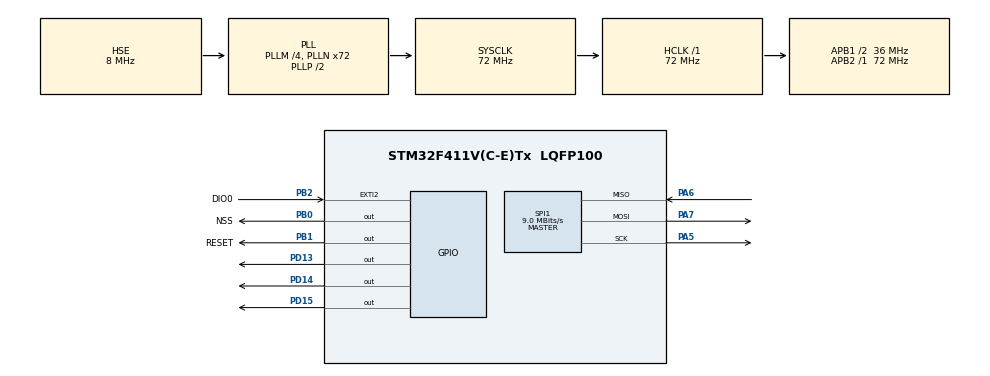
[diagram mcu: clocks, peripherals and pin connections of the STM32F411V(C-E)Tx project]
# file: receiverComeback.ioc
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Mcu.Family=STM32F4
Mcu.Name=STM32F411V(C-E)Tx
Mcu.Package=LQFP100
NVIC.EXTI2_IRQn=true\:0\:0\:false\:false\:true\:true\:true\:true
NVIC.PriorityGroup=NVIC_PRIORITYGROUP_0
NVIC.SPI1_IRQn=true\:0\:0\:false\:false\:true\:true\:true\:true
PA5.Mode=Full_Duplex_Master
PA5.Signal=SPI1_SCK
PA6.Mode=Full_Duplex_Master
PA6.Signal=SPI1_MISO
PA7.Mode=Full_Duplex_Master
PA7.Signal=SPI1_MOSI
PB0.GPIO_Label=NSS
PB0.Signal=GPIO_Output
PB1.GPIO_Label=RESET
PB1.Signal=GPIO_Output
PB2.GPIO_Label=DIO0
PB2.Signal=GPXTI2
PD13.Signal=GPIO_Output
PD14.Signal=GPIO_Output
PD15.Signal=GPIO_Output
PH0\ -\ OSC_IN.Mode=HSE-External-Oscillator
PH0\ -\ OSC_IN.Signal=RCC_OSC_IN
PH1\ -\ OSC_OUT.Mode=HSE-External-Oscillator
PH1\ -\ OSC_OUT.Signal=RCC_OSC_OUT
ProjectManager.HeapSize=0x200
ProjectManager.StackSize=0x400
ProjectManager.TargetToolchain=STM32CubeIDE
RCC.48MHZClocksFreq_Value=18000000
RCC.AHBFreq_Value=72000000
RCC.APB1CLKDivider=RCC_HCLK_DIV2
RCC.APB1Freq_Value=36000000
RCC.APB1TimFreq_Value=72000000
RCC.APB2Freq_Value=72000000
RCC.APB2TimFreq_Value=72000000
RCC.CortexFreq_Value=72000000
RCC.HCLKFreq_Value=72000000
RCC.HSE_VALUE=8000000
RCC.HSI_VALUE=16000000
RCC.LSE_VALUE=32768
RCC.PLLI2SM=5
RCC.PLLI2SN=200
RCC.PLLM=4
RCC.PLLN=72
RCC.PLLQ=8
RCC.PLLSourceVirtual=RCC_PLLSOURCE_HSE
RCC.SYSCLKFreq_VALUE=72000000
RCC.SYSCLKSource=RCC_SYSCLKSOURCE_PLLCLK
RCC.VCOOutputFreq_Value=144000000
SPI1.BaudRatePrescaler=SPI_BAUDRATEPRESCALER_8
SPI1.CalculateBaudRate=9.0 MBits/s
SPI1.Direction=SPI_DIRECTION_2LINES
SPI1.Mode=SPI_MODE_MASTER
SPI1.VirtualType=VM_MASTER
board=STM32F411E-DISCO

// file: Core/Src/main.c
/* USER CODE BEGIN Header */
/**
  ******************************************************************************
  * @file           : main.c
  * @brief          : Main program body
  ******************************************************************************
  * @attention
  *
  * Copyright (c) 2023 STMicroelectronics.
  * All rights reserved.
  *
  * This software is licensed under terms that can be found in the LICENSE file
  * in the root directory of this software component.
  * If no LICENSE file comes with this software, it is provided AS-IS.
  *
  ******************************************************************************
  */
/* USER CODE END Header */
#include "main.h"
#include "spi.h"
#include "gpio.h"

/* USER CODE BEGIN Includes */
#include "LoRa.h"
/* USER CODE END Includes */

/* USER CODE BEGIN PV */
LoRa myLoRa;
int status = 0;
uint8_t data[2];
int temperature = 0;
int pressure = 0;
/* USER CODE END PV */

void SystemClock_Config(void);

int main(void)
{

  /* MCU Configuration--------------------------------------------------------*/

  /* Reset of all peripherals, Initializes the Flash interface and the Systick. */
  HAL_Init();

  /* Configure the system clock */
  SystemClock_Config();

  /* Initialize all configured peripherals */
  MX_GPIO_Init();
  MX_SPI1_Init();
  /* USER CODE BEGIN 2 */
  myLoRa = newLoRa();
  myLoRa.CS_port         = NSS_GPIO_Port;
  myLoRa.CS_pin          = NSS_Pin;
  myLoRa.reset_port      = RESET_GPIO_Port;
  myLoRa.reset_pin       = RESET_Pin;
  myLoRa.DIO0_port       = DIO0_GPIO_Port;
  myLoRa.DIO0_pin        = DIO0_Pin;
  myLoRa.hSPIx           = &hspi1;
  HAL_Delay(10);
  while (status != 1) {
	  if (LoRa_init(&myLoRa) != LORA_OK) {
	  	  HAL_GPIO_TogglePin(GPIOD, GPIO_PIN_13);
	  } else {
	  	  status = 1;
	  }
	  HAL_Delay(15);
  }
  LoRa_startReceiving(&myLoRa);

  /* USER CODE END 2 */

  /* Infinite loop */
  /* USER CODE BEGIN WHILE */
  while (1)
  {
	  if (status) {
		  LoRa_receive(&myLoRa, data, 2);
		  HAL_GPIO_TogglePin(GPIOD, GPIO_PIN_14);
		  HAL_Delay(1000);
		  temperature = (int)data[0] + 200;
		  pressure = (int)data[1];
	  }
    /* USER CODE END WHILE */

  }
}

void SystemClock_Config(void)
{
  RCC_OscInitTypeDef RCC_OscInitStruct = {0};
  RCC_ClkInitTypeDef RCC_ClkInitStruct = {0};

  /** Configure the main internal regulator output voltage
  */
  __HAL_RCC_PWR_CLK_ENABLE();
  __HAL_PWR_VOLTAGESCALING_CONFIG(PWR_REGULATOR_VOLTAGE_SCALE1);

  /** Initializes the RCC Oscillators according to the specified parameters
  * in the RCC_OscInitTypeDef structure.
  */
  RCC_OscInitStruct.OscillatorType = RCC_OSCILLATORTYPE_HSE;
  RCC_OscInitStruct.HSEState = RCC_HSE_ON;
  RCC_OscInitStruct.PLL.PLLState = RCC_PLL_ON;
  RCC_OscInitStruct.PLL.PLLSource = RCC_PLLSOURCE_HSE;
  RCC_OscInitStruct.PLL.PLLM = 4;
  RCC_OscInitStruct.PLL.PLLN = 72;
  RCC_OscInitStruct.PLL.PLLP = RCC_PLLP_DIV2;
  RCC_OscInitStruct.PLL.PLLQ = 8;
  if (HAL_RCC_OscConfig(&RCC_OscInitStruct) != HAL_OK)
  {
    Error_Handler();
  }

  /** Initializes the CPU, AHB and APB buses clocks
  */
  RCC_ClkInitStruct.ClockType = RCC_CLOCKTYPE_HCLK|RCC_CLOCKTYPE_SYSCLK
                              |RCC_CLOCKTYPE_PCLK1|RCC_CLOCKTYPE_PCLK2;
  RCC_ClkInitStruct.SYSCLKSource = RCC_SYSCLKSOURCE_PLLCLK;
  RCC_ClkInitStruct.AHBCLKDivider = RCC_SYSCLK_DIV1;
  RCC_ClkInitStruct.APB1CLKDivider = RCC_HCLK_DIV2;
  RCC_ClkInitStruct.APB2CLKDivider = RCC_HCLK_DIV1;

  if (HAL_RCC_ClockConfig(&RCC_ClkInitStruct, FLASH_LATENCY_2) != HAL_OK)
  {
    Error_Handler();
  }
}

void Error_Handler(void)
{
  __disable_irq();
  while (1)
  {
  }
}
